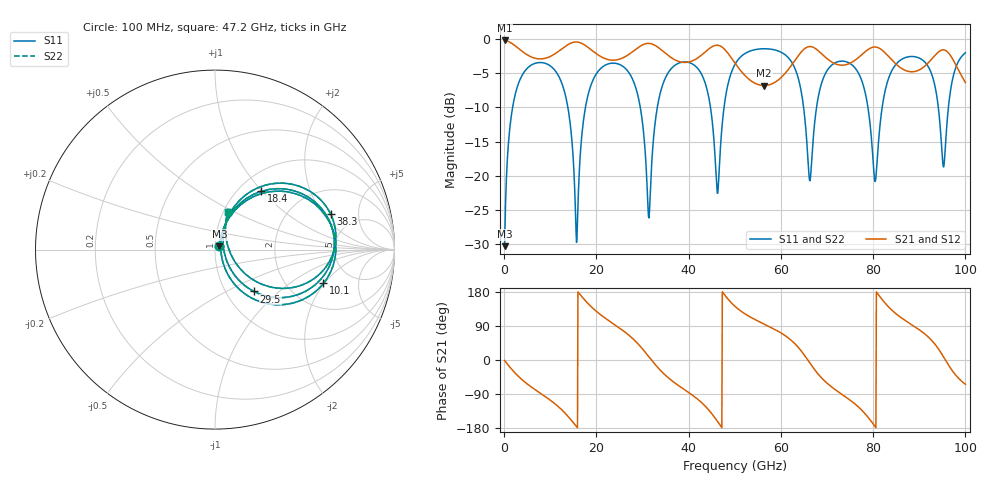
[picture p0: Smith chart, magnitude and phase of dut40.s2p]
! Touchstone file exported from HFSS 2026.1.0
!  File:  C:/ffzhzh/LocalFiles/Ansys_Project_Files/temp_train_TSV_RDL_40_1783619141_33328.aedt
!  Generated:  01:54:55 AM Jul 10, 2026
!  Design:  TSV_RDL
!  Project:  temp_train_TSV_RDL_40_1783619141_33328
! Variables:
!  h_bsmrdl = 3.16um
!  h_ox = 20um
!  h_rdl = 5um
!  h_sub = 62.96um
!  h_tmrdl = 4.07um
!  h_tsv = 62.96um
!  h_via = 3um
!  l_bsmrdl = 410.98um
!  l_sub = 3898.27um
!  l_tmrdl = 543.75um
!  m_sub = 200um
!  pitch = 58.02um
!  r_tsv = 8.38um
!  s_tmrdl = 10um
!  w_bsmrdl = 17.63um
!  w_sub = 500um
!  w_tmrdl = 12.48um
!  x_tsv_center1 = 549.99um
!  x_tsv_center2 = 978.6um
!  x_tsv_center3 = 1534.83um
!  x_tsv_center4 = 1963.44um
!  x_tsv_center5 = 2519.67um
!  x_tsv_center6 = 2948.28um
# GHz S MA R 50.000000
! Terminal data exported
! Port[1] = TM_RDL1_1_T1
! Port[2] = TM_RDL5_1_T1
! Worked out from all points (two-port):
!   1000 points, 100 MHz to 100 GHz, reference 50 ohm
!   highest |S21| = -0.21 dB at 100 MHz (marker M1); lowest = -6.8 dB at 56.4 GHz (marker M2)
!   |S21| within 3 dB of the highest: start of sweep to 37.57 GHz; 40.74 GHz to 49.73 GHz (8.99 GHz wide, 19.9 % of centre) (the widest 2 of 5)
!   lowest |S11| = -30.3 dB at 100 MHz (marker M3), VSWR 1.06, Z = 52.4 + j1.97 ohm
!   |S11| at or under -10 dB: 13.82 GHz to 17.62 GHz (3.808 GHz wide, 24.2 % of centre); 29.52 GHz to 33.2 GHz (3.686 GHz wide, 11.8 % of centre); 78.87 GHz to 81.95 GHz (3.081 GHz wide, 3.83 % of centre) (the widest 3 of 7)
!   |S22| runs from -30.3 to -1.4 dB; largest |S21 - S12| = 1.1e-11
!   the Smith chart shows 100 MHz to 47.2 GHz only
!   S11 on the Smith chart (normalised r, x): 100 MHz: 1.05, +0.04; 10.1 GHz: 3.12, -1.96; 18.4 GHz: 1.26, +0.99; 29.5 GHz: 1.35, -0.70; 38.3 GHz: 3.29, +2.39; 47.2 GHz: 1.05, +0.47
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0.1  0.03067 37.7  0.9761 -1.6  0.9761 -1.6  0.03067 37.7
! Gamma 0 0 0 0
! Port Impedance 50 0 50 0
2.8  0.4411 46.8  0.8705 -39.7  0.8705 -39.7  0.4411 46.8
10.1  0.633 -17.3  0.7489 -106.9  0.7489 -106.9  0.6329 -17.3
15.6  0.03809 -26.8  0.9514 -174.4  0.9514 -174.4  0.03811 -26.8
16.8  0.1915 67.1  0.9303 167.8  0.9303 167.8  0.1915 67.1
18.4  0.4148 51.5  0.8584 146.3  0.8584 146.3  0.4148 51.5
29.5  0.3186 -47.0  0.8858 36.3  0.8858 36.3  0.3186 -47.1
31.4  0.0493 14.5  0.9284 8.2  0.9284 8.2  0.04863 14.4
33.4  0.3444 60.9  0.8679 -21.0  0.8679 -21.0  0.3442 61.0
38.3  0.6741 17.1  0.6791 -71.7  0.6791 -71.7  0.674 17.1
47.2  0.2226 71.3  0.8754 -178.3  0.8754 -178.3  0.2229 71.1
50.1  0.6574 45.7  0.6637 141.1  0.6637 141.1  0.6575 45.6
56.4  0.8491 4.2  0.4574 94.7  0.4574 94.7  0.8492 4.1
63.1  0.603 -41.6  0.7024 42.1  0.7024 42.1  0.603 -41.7
66.7  0.1335 32.2  0.8777 -15.2  0.8777 -15.2  0.1332 32.4
69.8  0.5715 25.7  0.7286 -59.0  0.7286 -59.0  0.5716 25.7
76.8  0.5649 -29.2  0.7316 -123.8  0.7316 -123.8  0.5652 -29.0
80.4  0.09104 -0.3  0.8744 -175.3  0.8744 -175.3  0.09493 -0.2
83.4  0.5219 41.4  0.7421 139.3  0.7421 139.3  0.5225 40.9
91.7  0.6469 -22.0  0.6569 63.6  0.6569 63.6  0.6469 -22.4
95.2  0.1169 -1.8  0.8334 9.4  0.8334 9.4  0.1144 -2.4
100  0.7931 19.9  0.4812 -64.0  0.4812 -64.0  0.793 19.7
